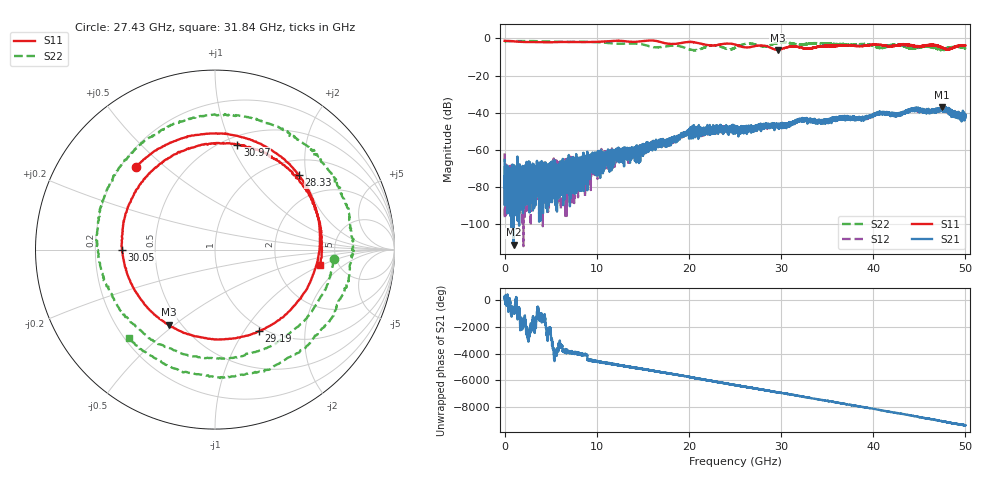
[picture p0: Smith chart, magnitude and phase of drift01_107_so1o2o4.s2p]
!Created with skrf (http://scikit-rf.org).
# Hz S RI R 50.0
!freq ReS11 ImS11 ReS21 ImS21 ReS12 ImS12 ReS22 ImS22
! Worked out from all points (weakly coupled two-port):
!   10001 points, 300 kHz to 50 GHz, reference 50 ohm
!   highest |S21| = -36.89 dB at 47.46 GHz (marker M1); lowest = -110.8 dB at 965.3 MHz (marker M2)
!   lowest |S11| = -6.2 dB at 29.62 GHz (marker M3), VSWR 2.93, Z = 21.6 - j23.8 ohm
!   |S11| at or under -10 dB: nowhere
!   |S22| runs from -6.4 to -1.4 dB; largest |S21 - S12| = 0.0037
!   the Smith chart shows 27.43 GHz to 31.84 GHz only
!   S11 on the Smith chart (normalised r, x): 27.43 GHz: 0.26, +0.40; 28.33 GHz: 1.34, +1.82; 29.19 GHz: 0.95, -1.17; 30.05 GHz: 0.32, +0.00; 30.97 GHz: 0.58, +1.05; 31.84 GHz: 3.65, -0.94
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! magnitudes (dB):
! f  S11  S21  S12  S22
! 300 kHz  -1.3  -65.4  -61.8  -2.1
! 255.3 MHz  -1.4  -89.5  -79.3  -1.4
! 965.3 MHz  -1.6  -110.8  -70.3  -1.5
! 3.955 GHz  -2.0  -70.2  -88.2  -1.5
! 4.58 GHz  -2.1  -77.7  -71.6  -1.5
! 8.335 GHz  -2.0  -67.5  -65.8  -1.8
! 16.67 GHz  -1.6  -56.2  -56.7  -4.8
! 18.62 GHz  -2.9  -54.3  -53.6  -3.9
! 20.55 GHz  -2.1  -48.9  -50.1  -6.3
! 22.6 GHz  -3.8  -49.8  -49.7  -3.7
! 25 GHz  -3.3  -49.5  -50.1  -5.1
! 27.43 GHz  -3.9  -48.8  -48.8  -3.5
! 28.33 GHz  -4.1  -47.1  -47.2  -4.3
! 29.19 GHz  -5.7  -47.1  -47.7  -3.0
! 29.62 GHz  -6.2  -46.6  -47.2  -2.5
! 30.05 GHz  -5.7  -46.6  -47.1  -2.3
! 30.97 GHz  -4.5  -46.3  -46.2  -2.4
! 31.84 GHz  -4.6  -44.4  -43.9  -3.3
! 33.34 GHz  -5.2  -45.1  -44.0  -2.7
! 41.67 GHz  -4.2  -40.9  -40.8  -4.3
! 47.46 GHz  -5.0  -36.9  -38.5  -5.9
! 50 GHz  -3.8  -41.8  -41.9  -5.3
